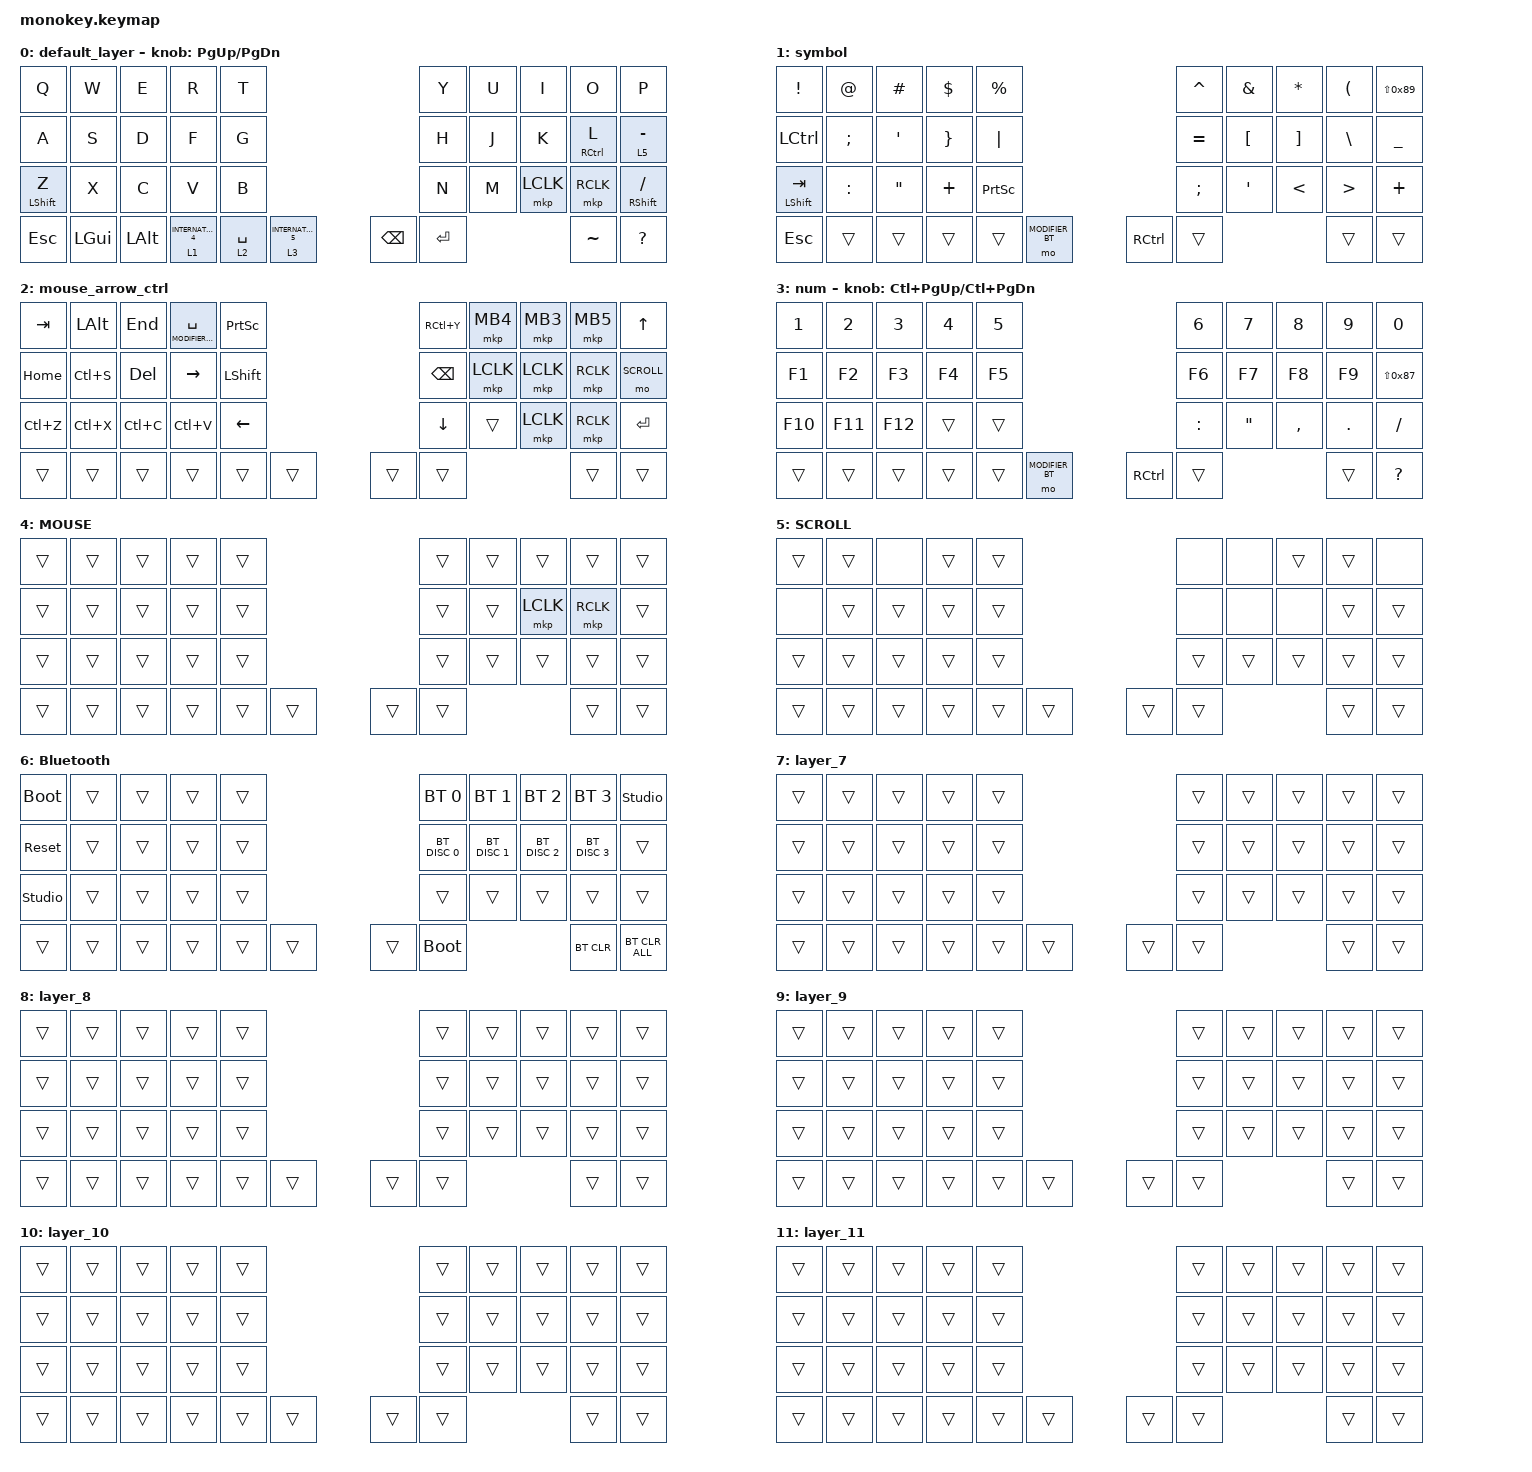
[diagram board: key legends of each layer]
#include <behaviors.dtsi>
#include <dt-bindings/zmk/bt.h>
#include <dt-bindings/zmk/keys.h>
#include <dt-bindings/zmk/pointing.h>

#define DEFAULT 0
#define SYMBOL	1
#define MOUSE_CTRL	2
#define NUM_FUNCTION	3
#define MOUSE	4
#define SCROLL	5
#define MODIFIER_BT	6
#define MOUSE 4
#define SCROLL 5
#define NUM 6
#define JP_DQUOTE       AT                // "
#define JP_AMPERSAND    CARET             // &
#define JP_QUOTE        AMPERSAND         // '
#define JP_EQUAL        UNDER             // =
#define JP_CARET        EQUAL             // ^
#define JP_YEN          0x89              // ¥
#define JP_PLUS         COLON             // +
#define JP_TILDE        PLUS              // ~
#define JP_PIPE         LS(0x89)          // |
#define JP_AT           LEFT_BRACKET      // @
#define JP_COLON        SINGLE_QUOTE      // :
#define JP_ASTERISK     DOUBLE_QUOTES     // *
#define JP_BACKQUOTE    LEFT_BRACE        // `
#define JP_UNDERSCORE   LS(0x87)          // _
#define JP_LBRACKET     RIGHT_BRACKET     // [
#define JP_RBRACKET     BACKSLASH         // ]
#define JP_LPAREN       ASTERISK          // (
#define JP_RPAREN       LEFT_PARENTHESIS  // )
#define JP_LBRACE       RIGHT_BRACE       // {
#define JP_RBRACE       PIPE              // }
#define JP_KANA         LANGUAGE_1        // かな
#define JP_EISU         LANGUAGE_2        // 英数
#define JP_HANZEN       GRAVE             // 半角/全角
#define JP_BSLH  		INT1			  // (backslash)

&mt {
    flavor = "balanced";
    quick-tap-ms = <300>;
};

&lt { quick-tap-ms = <300>; };

/ {
    combos {
        compatible = "zmk,combos";

        mb3 {
            bindings = <&mkp MB3>;
            key-positions = <6 7 8>;
        };

        tab {
            bindings = <&kp TAB>;
            key-positions = <11 12>;
        };

        shift_tab {
            bindings = <&kp LS(TAB)>;
            key-positions = <12 13>;
        };

        mb4 {
            bindings = <&mkp MB4>;
            key-positions = <6 7>;
        };

        mb5 {
            bindings = <&mkp MB5>;
            key-positions = <7 8>;
        };

        semicolon {
            bindings = <&kp SEMICOLON>;
            key-positions = <16 17>;
        };

        colon {
            bindings = <&kp JP_COLON>;
            key-positions = <17 18>;
        };
    };

    behaviors {
        right_click: right_click_behavior {
            compatible = "zmk,behavior-mouse-key";
            label = "RIGHT_CLICK";
            #binding-cells = <0>;

            // 右クリックは通常 MB2 に対応（ZMKの標準定義）

            bindings = <&mkp MB2>;
        };
    };

    keymap {
        compatible = "zmk,keymap";

        default_layer {
            bindings = <
&kp Q             &kp W         &kp E         &kp R                  &kp T                                 &kp Y          &kp U      &kp I      &kp O        &kp P
&kp A             &kp S         &kp D         &kp F                  &kp G                                 &kp H          &kp J      &kp K      &mt RCTRL L  &lt 5 MINUS
&mt LEFT_SHIFT Z  &kp X         &kp C         &kp V                  &kp B                                 &kp N          &kp M      &mkp LCLK  &mkp RCLK    &mt RIGHT_SHIFT SLASH
&kp ESCAPE        &kp LEFT_GUI  &kp LEFT_ALT  &lt 1 INTERNATIONAL_4  &lt 2 SPACE  &lt 3 INTERNATIONAL_5    &kp BACKSPACE  &kp ENTER             &kp TILDE    &kp QUESTION
            >;

            sensor-bindings = <&inc_dec_kp PG_UP PAGE_DOWN>;
        };

        symbol {
            bindings = <
&kp EXCLAMATION     &kp JP_DQUOTE  &kp HASH         &kp DOLLAR     &kp PERCENT                         &kp JP_AMPERSAND  &kp JP_QUOTE  &kp JP_LPAREN    &kp JP_RPAREN     &kp JP_PIPE
&kp LCTRL           &kp SEMICOLON  &kp JP_COLON     &kp JP_LBRACE  &kp JP_RBRACE                       &kp JP_CARET      &kp JP_AT     &kp JP_LBRACKET  &kp JP_RBRACKET   &kp JP_EQUAL
&mt LEFT_SHIFT TAB  &kp JP_PLUS    &kp JP_ASTERISK  &kp JP_TILDE   &kp PRINTSCREEN                     &kp SEMICOLON     &kp JP_COLON  &kp LESS_THAN    &kp GREATER_THAN  &kp JP_TILDE
&kp ESCAPE          &trans         &trans           &trans         &trans           &mo MODIFIER_BT    &kp RCTRL         &trans                         &trans            &trans
            >;
        };

        mouse_arrow_ctrl {
            bindings = <
&kp TAB    &kp LEFT_ALT  &kp END    &lt MODIFIER_BT SPACE  &kp PRINTSCREEN            &kp RC(Y)       &mkp MB4   &mkp MB3   &mkp MB5   &kp UP_ARROW
&kp HOME   &kp LC(S)     &kp DEL    &kp RIGHT_ARROW        &kp LEFT_SHIFT             &kp BACKSPACE   &mkp LCLK  &mkp LCLK  &mkp RCLK  &mo SCROLL
&kp LC(Z)  &kp LC(X)     &kp LC(C)  &kp LC(V)              &kp LEFT_ARROW             &kp DOWN_ARROW  &trans     &mkp LCLK  &mkp RCLK  &kp ENTER
&trans     &trans        &trans     &trans                 &trans           &trans    &trans          &trans                &trans     &trans
            >;
        };

        num {
            bindings = <
&kp NUMBER_1  &kp NUMBER_2  &kp NUMBER_3  &kp NUMBER_4  &kp NUMBER_5                     &kp NUMBER_6  &kp NUMBER_7     &kp NUMBER_8  &kp NUMBER_9  &kp NUMBER_0
&kp F1        &kp F2        &kp F3        &kp F4        &kp F5                           &kp F6        &kp F7           &kp F8        &kp F9        &kp JP_UNDERSCORE
&kp F10       &kp F11       &kp F12       &trans        &trans                           &kp JP_PLUS   &kp JP_ASTERISK  &kp COMMA     &kp PERIOD    &kp SLASH
&trans        &trans        &trans        &trans        &trans        &mo MODIFIER_BT    &kp RCTRL     &trans                         &trans        &kp QUESTION
            >;

            sensor-bindings = <&inc_dec_kp LC(PAGE_UP) LC(PAGE_DOWN)>;
        };

        MOUSE {
            bindings = <
&trans  &trans  &trans  &trans  &trans            &trans  &trans  &trans     &trans     &trans
&trans  &trans  &trans  &trans  &trans            &trans  &trans  &mkp LCLK  &mkp RCLK  &trans
&trans  &trans  &trans  &trans  &trans            &trans  &trans  &trans     &trans     &trans
&trans  &trans  &trans  &trans  &trans  &trans    &trans  &trans             &trans     &trans
            >;
        };

        SCROLL {
            bindings = <
&trans  &trans  &none   &trans  &trans            &none   &none   &trans  &trans  &none
&none   &trans  &trans  &trans  &trans            &none   &none   &none   &trans  &trans
&trans  &trans  &trans  &trans  &trans            &trans  &trans  &trans  &trans  &trans
&trans  &trans  &trans  &trans  &trans  &trans    &trans  &trans          &trans  &trans
            >;
        };

        Bluetooth {
            bindings = <
&bootloader      &trans  &trans  &trans  &trans            &bt BT_SEL 0   &bt BT_SEL 1   &bt BT_SEL 2   &bt BT_SEL 3   &studio_unlock
&sys_reset       &trans  &trans  &trans  &trans            &bt BT_DISC 0  &bt BT_DISC 1  &bt BT_DISC 2  &bt BT_DISC 3  &trans
&studio_unlock  &trans  &trans  &trans  &trans            &trans         &trans         &trans         &trans         &trans
&trans           &trans  &trans  &trans  &trans  &trans    &trans         &bootloader                   &bt BT_CLR     &bt BT_CLR_ALL
            >;
        };

        layer_7 {
            bindings = <
&trans  &trans  &trans  &trans  &trans            &trans  &trans  &trans  &trans  &trans
&trans  &trans  &trans  &trans  &trans            &trans  &trans  &trans  &trans  &trans
&trans  &trans  &trans  &trans  &trans            &trans  &trans  &trans  &trans  &trans
&trans  &trans  &trans  &trans  &trans  &trans    &trans  &trans          &trans  &trans
            >;
        };

        layer_8 {
            bindings = <
&trans  &trans  &trans  &trans  &trans            &trans  &trans  &trans  &trans  &trans
&trans  &trans  &trans  &trans  &trans            &trans  &trans  &trans  &trans  &trans
&trans  &trans  &trans  &trans  &trans            &trans  &trans  &trans  &trans  &trans
&trans  &trans  &trans  &trans  &trans  &trans    &trans  &trans          &trans  &trans
            >;
        };

        layer_9 {
            bindings = <
&trans  &trans  &trans  &trans  &trans            &trans  &trans  &trans  &trans  &trans
&trans  &trans  &trans  &trans  &trans            &trans  &trans  &trans  &trans  &trans
&trans  &trans  &trans  &trans  &trans            &trans  &trans  &trans  &trans  &trans
&trans  &trans  &trans  &trans  &trans  &trans    &trans  &trans          &trans  &trans
            >;
        };

        layer_10 {
            bindings = <
&trans  &trans  &trans  &trans  &trans            &trans  &trans  &trans  &trans  &trans
&trans  &trans  &trans  &trans  &trans            &trans  &trans  &trans  &trans  &trans
&trans  &trans  &trans  &trans  &trans            &trans  &trans  &trans  &trans  &trans
&trans  &trans  &trans  &trans  &trans  &trans    &trans  &trans          &trans  &trans
            >;
        };

        layer_11 {
            bindings = <
&trans  &trans  &trans  &trans  &trans            &trans  &trans  &trans  &trans  &trans
&trans  &trans  &trans  &trans  &trans            &trans  &trans  &trans  &trans  &trans
&trans  &trans  &trans  &trans  &trans            &trans  &trans  &trans  &trans  &trans
&trans  &trans  &trans  &trans  &trans  &trans    &trans  &trans          &trans  &trans
            >;
        };
    };
};
